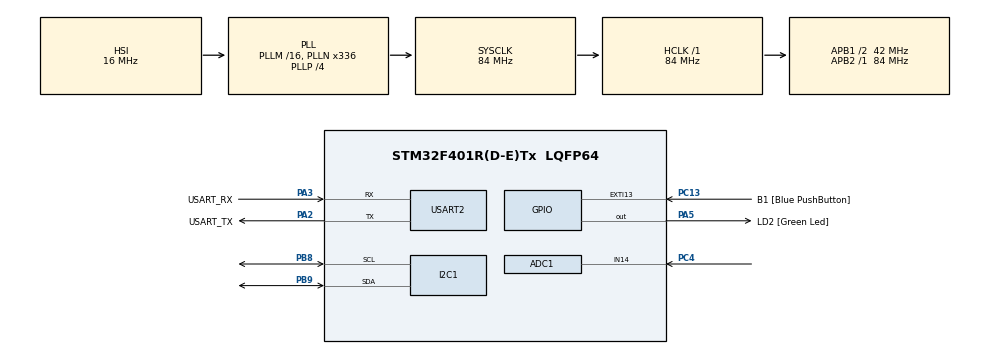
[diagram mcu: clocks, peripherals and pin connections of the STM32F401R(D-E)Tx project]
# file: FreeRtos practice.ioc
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ADC1.Channel-0\#ChannelRegularConversion=ADC_CHANNEL_14
ADC1.ContinuousConvMode=ENABLE
ADC1.NbrOfConversionFlag=1
ADC1.Rank-0\#ChannelRegularConversion=1
ADC1.SamplingTime-0\#ChannelRegularConversion=ADC_SAMPLETIME_3CYCLES
ADC1.master=1
FREERTOS.Queues01=myQueue01,16,uint16_t,0,Dynamic,NULL,NULL
FREERTOS.Tasks01=defaultTask,0,128,StartDefaultTask,Default,NULL,Dynamic,NULL,NULL;myTask02,-3,128,StartTask02,Default,NULL,Dynamic,NULL,NULL;myTask03,-3,128,StartTask03,Default,NULL,Dynamic,NULL,NULL
FREERTOS.configUSE_NEWLIB_REENTRANT=1
FREERTOS.configUSE_TIMERS=0
Mcu.Family=STM32F4
Mcu.Name=STM32F401R(D-E)Tx
Mcu.Package=LQFP64
NVIC.PriorityGroup=NVIC_PRIORITYGROUP_4
NVIC.TIM1_TRG_COM_TIM11_IRQn=true\:15\:0\:false\:false\:true\:false\:false\:true\:true
NVIC.TimeBase=TIM1_TRG_COM_TIM11_IRQn
NVIC.TimeBaseIP=TIM11
PA13.GPIO_Label=TMS
PA13.Mode=Serial_Wire
PA13.Signal=SYS_JTMS-SWDIO
PA14.GPIO_Label=TCK
PA14.Mode=Serial_Wire
PA14.Signal=SYS_JTCK-SWCLK
PA2.GPIO_Label=USART_TX
PA2.GPIO_Mode=GPIO_MODE_AF_PP
PA2.GPIO_PuPd=GPIO_NOPULL
PA2.GPIO_Speed=GPIO_SPEED_FREQ_LOW
PA2.Mode=Asynchronous
PA2.Signal=USART2_TX
PA3.GPIO_Label=USART_RX
PA3.GPIO_Mode=GPIO_MODE_AF_PP
PA3.GPIO_PuPd=GPIO_NOPULL
PA3.GPIO_Speed=GPIO_SPEED_FREQ_LOW
PA3.Mode=Asynchronous
PA3.Signal=USART2_RX
PA5.GPIO_Label=LD2 [Green Led]
PA5.GPIO_Mode=GPIO_MODE_OUTPUT_PP
PA5.GPIO_PuPd=GPIO_NOPULL
PA5.GPIO_Speed=GPIO_SPEED_FREQ_LOW
PA5.Signal=GPIO_Output
PB3.GPIO_Label=SWO
PB3.Signal=SYS_JTDO-SWO
PB8.Mode=I2C
PB8.Signal=I2C1_SCL
PB9.Mode=I2C
PB9.Signal=I2C1_SDA
PC13-ANTI_TAMP.GPIO_Label=B1 [Blue PushButton]
PC13-ANTI_TAMP.GPIO_ModeDefaultEXTI=GPIO_MODE_IT_FALLING
PC13-ANTI_TAMP.GPIO_PuPd=GPIO_NOPULL
PC13-ANTI_TAMP.Signal=GPXTI13
PC14-OSC32_IN.Mode=LSE-External-Oscillator
PC14-OSC32_IN.Signal=RCC_OSC32_IN
PC15-OSC32_OUT.Mode=LSE-External-Oscillator
PC15-OSC32_OUT.Signal=RCC_OSC32_OUT
PC4.Signal=ADCx_IN14
PH0\ -\ OSC_IN.Mode=HSE-External-Clock-Source
PH0\ -\ OSC_IN.Signal=RCC_OSC_IN
PH1\ -\ OSC_OUT.Mode=HSE-External-Clock-Source
PH1\ -\ OSC_OUT.Signal=RCC_OSC_OUT
ProjectManager.HeapSize=0x200
ProjectManager.StackSize=0x400
ProjectManager.TargetToolchain=STM32CubeIDE
RCC.48MHZClocksFreq_Value=48000000
RCC.AHBFreq_Value=84000000
RCC.APB1CLKDivider=RCC_HCLK_DIV2
RCC.APB1Freq_Value=42000000
RCC.APB1TimFreq_Value=84000000
RCC.APB2Freq_Value=84000000
RCC.APB2TimFreq_Value=84000000
RCC.CortexFreq_Value=84000000
RCC.HCLKFreq_Value=84000000
RCC.HSE_VALUE=8000000
RCC.HSI_VALUE=16000000
RCC.PLLN=336
RCC.PLLP=RCC_PLLP_DIV4
RCC.PLLQ=7
RCC.SYSCLKFreq_VALUE=84000000
RCC.SYSCLKSource=RCC_SYSCLKSOURCE_PLLCLK
RCC.VCOOutputFreq_Value=336000000
SH.ADCx_IN14.0=ADC1_IN14,IN14
USART2.VirtualMode=VM_ASYNC
VP_FREERTOS_VS_CMSIS_V1.Mode=CMSIS_V1
VP_SYS_VS_tim11.Mode=TIM11
board=NUCLEO-F401RE

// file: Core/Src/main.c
/* USER CODE BEGIN Header */
/**
 ******************************************************************************
 * @file           : main.c
 * @brief          : Main program body
 ******************************************************************************
 * @attention
 *
 * Copyright (c) 2023 STMicroelectronics.
 * All rights reserved.
 *
 * This software is licensed under terms that can be found in the LICENSE file
 * in the root directory of this software component.
 * If no LICENSE file comes with this software, it is provided AS-IS.
 *
 ******************************************************************************
 */
/* USER CODE END Header */
#include "main.h"
#include "cmsis_os.h"

/* USER CODE BEGIN Includes */
#include "BML_DEF.h"
#include "uart.h"
#include "st7783.h"
/* USER CODE END Includes */

ADC_HandleTypeDef hadc1;

I2C_HandleTypeDef hi2c1;

UART_HandleTypeDef huart2;

osThreadId defaultTaskHandle;
osThreadId myTask02Handle;
osThreadId myTask03Handle;
osMessageQId myQueue01Handle;
/* USER CODE BEGIN PV */

int8_t menu_select_flag = -1;

/* USER CODE END PV */

void SystemClock_Config(void);
static void MX_GPIO_Init(void);
static void MX_USART2_UART_Init(void);
static void MX_ADC1_Init(void);
static void MX_I2C1_Init(void);
void StartDefaultTask(void const *argument);
void StartTask02(void const *argument);
void StartTask03(void const *argument);

int main(void) {

	/* MCU Configuration--------------------------------------------------------*/

	/* Reset of all peripherals, Initializes the Flash interface and the Systick. */
	HAL_Init();

	/* Configure the system clock */
	SystemClock_Config();

	/* Initialize all configured peripherals */
	MX_GPIO_Init();
	MX_USART2_UART_Init();
	MX_ADC1_Init();
	MX_I2C1_Init();
	/* USER CODE BEGIN 2 */
	USART_INIT(USART6, PORTA, PORTA, 11, 12, 115200);
	print("Working\r\n");
	USART_WRITE(USART6, "WORKING USART 6\r\n", 18, 100);
	LCD_Begin();
	LCD_FillScreen(BLACK);
	LCD_Printf("Working");

	gpio_config(PORTC, 9, INPUT_MODE, LOW_SPEED, EN_PU, PHPL);
	gpio_IT_config(PORTC, 9, FALLING_EDGE);
	gpio_IT_EN(9, EXTI9_5_IRQn);

	/* USER CODE END 2 */

	/* Create the queue(s) */
	/* definition and creation of myQueue01 */
	osMessageQDef(myQueue01, 16, uint16_t);
	myQueue01Handle = osMessageCreate(osMessageQ(myQueue01), NULL);

	/* Create the thread(s) */
	/* definition and creation of defaultTask */
	osThreadDef(defaultTask, StartDefaultTask, osPriorityNormal, 0, 128);
	defaultTaskHandle = osThreadCreate(osThread(defaultTask), NULL);

	/* definition and creation of myTask02 */
	osThreadDef(myTask02, StartTask02, osPriorityNormal, 0, 128);
	myTask02Handle = osThreadCreate(osThread(myTask02), NULL);

	/* definition and creation of myTask03 */
	osThreadDef(myTask03, StartTask03, osPriorityNormal, 0, 256);
	myTask03Handle = osThreadCreate(osThread(myTask03), NULL);

	/* Start scheduler */
	osKernelStart();

	/* We should never get here as control is now taken by the scheduler */
	/* Infinite loop */
	while (1) {

	}
}

void SystemClock_Config(void) {
	RCC_OscInitTypeDef RCC_OscInitStruct = { 0 };
	RCC_ClkInitTypeDef RCC_ClkInitStruct = { 0 };

	/** Configure the main internal regulator output voltage
	 */
	__HAL_RCC_PWR_CLK_ENABLE();
	__HAL_PWR_VOLTAGESCALING_CONFIG(PWR_REGULATOR_VOLTAGE_SCALE2);

	/** Initializes the RCC Oscillators according to the specified parameters
	 * in the RCC_OscInitTypeDef structure.
	 */
	RCC_OscInitStruct.OscillatorType = RCC_OSCILLATORTYPE_HSI;
	RCC_OscInitStruct.HSIState = RCC_HSI_ON;
	RCC_OscInitStruct.HSICalibrationValue = RCC_HSICALIBRATION_DEFAULT;
	RCC_OscInitStruct.PLL.PLLState = RCC_PLL_ON;
	RCC_OscInitStruct.PLL.PLLSource = RCC_PLLSOURCE_HSI;
	RCC_OscInitStruct.PLL.PLLM = 16;
	RCC_OscInitStruct.PLL.PLLN = 336;
	RCC_OscInitStruct.PLL.PLLP = RCC_PLLP_DIV4;
	RCC_OscInitStruct.PLL.PLLQ = 7;
	if (HAL_RCC_OscConfig(&RCC_OscInitStruct) != HAL_OK) {
		Error_Handler();
	}

	/** Initializes the CPU, AHB and APB buses clocks
	 */
	RCC_ClkInitStruct.ClockType = RCC_CLOCKTYPE_HCLK | RCC_CLOCKTYPE_SYSCLK
			| RCC_CLOCKTYPE_PCLK1 | RCC_CLOCKTYPE_PCLK2;
	RCC_ClkInitStruct.SYSCLKSource = RCC_SYSCLKSOURCE_PLLCLK;
	RCC_ClkInitStruct.AHBCLKDivider = RCC_SYSCLK_DIV1;
	RCC_ClkInitStruct.APB1CLKDivider = RCC_HCLK_DIV2;
	RCC_ClkInitStruct.APB2CLKDivider = RCC_HCLK_DIV1;

	if (HAL_RCC_ClockConfig(&RCC_ClkInitStruct, FLASH_LATENCY_2) != HAL_OK) {
		Error_Handler();
	}
}

static void MX_ADC1_Init(void) {

	ADC_ChannelConfTypeDef sConfig = { 0 };

	/** Configure the global features of the ADC (Clock, Resolution, Data Alignment and number of conversion)
	 */
	hadc1.Instance = ADC1;
	hadc1.Init.ClockPrescaler = ADC_CLOCK_SYNC_PCLK_DIV4;
	hadc1.Init.Resolution = ADC_RESOLUTION_12B;
	hadc1.Init.ScanConvMode = DISABLE;
	hadc1.Init.ContinuousConvMode = ENABLE;
	hadc1.Init.DiscontinuousConvMode = DISABLE;
	hadc1.Init.ExternalTrigConvEdge = ADC_EXTERNALTRIGCONVEDGE_NONE;
	hadc1.Init.ExternalTrigConv = ADC_SOFTWARE_START;
	hadc1.Init.DataAlign = ADC_DATAALIGN_RIGHT;
	hadc1.Init.NbrOfConversion = 1;
	hadc1.Init.DMAContinuousRequests = DISABLE;
	hadc1.Init.EOCSelection = ADC_EOC_SINGLE_CONV;
	if (HAL_ADC_Init(&hadc1) != HAL_OK) {
		Error_Handler();
	}

	/** Configure for the selected ADC regular channel its corresponding rank in the sequencer and its sample time.
	 */
	sConfig.Channel = ADC_CHANNEL_14;
	sConfig.Rank = 1;
	sConfig.SamplingTime = ADC_SAMPLETIME_3CYCLES;
	if (HAL_ADC_ConfigChannel(&hadc1, &sConfig) != HAL_OK) {
		Error_Handler();
	}

}

static void MX_I2C1_Init(void) {

	hi2c1.Instance = I2C1;
	hi2c1.Init.ClockSpeed = 100000;
	hi2c1.Init.DutyCycle = I2C_DUTYCYCLE_2;
	hi2c1.Init.OwnAddress1 = 0;
	hi2c1.Init.AddressingMode = I2C_ADDRESSINGMODE_7BIT;
	hi2c1.Init.DualAddressMode = I2C_DUALADDRESS_DISABLE;
	hi2c1.Init.OwnAddress2 = 0;
	hi2c1.Init.GeneralCallMode = I2C_GENERALCALL_DISABLE;
	hi2c1.Init.NoStretchMode = I2C_NOSTRETCH_DISABLE;
	if (HAL_I2C_Init(&hi2c1) != HAL_OK) {
		Error_Handler();
	}

}

static void MX_USART2_UART_Init(void) {

	huart2.Instance = USART2;
	huart2.Init.BaudRate = 115200;
	huart2.Init.WordLength = UART_WORDLENGTH_8B;
	huart2.Init.StopBits = UART_STOPBITS_1;
	huart2.Init.Parity = UART_PARITY_NONE;
	huart2.Init.Mode = UART_MODE_TX_RX;
	huart2.Init.HwFlowCtl = UART_HWCONTROL_NONE;
	huart2.Init.OverSampling = UART_OVERSAMPLING_16;
	if (HAL_UART_Init(&huart2) != HAL_OK) {
		Error_Handler();
	}

}

static void MX_GPIO_Init(void) {
	GPIO_InitTypeDef GPIO_InitStruct = { 0 };

	/* GPIO Ports Clock Enable */
	__HAL_RCC_GPIOC_CLK_ENABLE();
	__HAL_RCC_GPIOH_CLK_ENABLE();
	__HAL_RCC_GPIOA_CLK_ENABLE();
	__HAL_RCC_GPIOB_CLK_ENABLE();

	/*Configure GPIO pin Output Level */
	HAL_GPIO_WritePin(LD2_GPIO_Port, LD2_Pin, GPIO_PIN_RESET);

	/*Configure GPIO pin : B1_Pin */
	GPIO_InitStruct.Pin = B1_Pin;
	GPIO_InitStruct.Mode = GPIO_MODE_IT_FALLING;
	GPIO_InitStruct.Pull = GPIO_NOPULL;
	HAL_GPIO_Init(B1_GPIO_Port, &GPIO_InitStruct);

	/*Configure GPIO pin : LD2_Pin */
	GPIO_InitStruct.Pin = LD2_Pin;
	GPIO_InitStruct.Mode = GPIO_MODE_OUTPUT_PP;
	GPIO_InitStruct.Pull = GPIO_NOPULL;
	GPIO_InitStruct.Speed = GPIO_SPEED_FREQ_LOW;
	HAL_GPIO_Init(LD2_GPIO_Port, &GPIO_InitStruct);

}

/* USER CODE BEGIN 4 */

void EXTI9_5_IRQHandler() {
	if (gpio_IT_CHK(9)) {
		for (int i = 2000000; i > 0; i--)
			;
		menu_select_flag = (menu_select_flag + 1) % 3;

		print("interrupt: %d\r\n", menu_select_flag);
		gpio_IT_CLR(9);
	}
}

/* USER CODE END 4 */

void StartDefaultTask(void const *argument) {
	/* USER CODE BEGIN 5 */
	/* Infinite loop */
	for (;;) {

		if (menu_select_flag == 0) {
			vTaskSuspend(myTask03Handle);
			vTaskResume(myTask02Handle);
		} else if (menu_select_flag == 1) {
			vTaskSuspend(myTask02Handle);
			vTaskResume(myTask03Handle);
		} else if (menu_select_flag == 2) {
			vTaskResume(myTask02Handle);
			vTaskResume(myTask03Handle);
		}
		osDelay(10);
	}
	/* USER CODE END 5 */
}

void StartTask02(void const *argument) {
	/* USER CODE BEGIN StartTask02 */
	uint32_t PreviousWakeTime = osKernelSysTick();
	/* Infinite loop */
	for (;;) {

		print("This is Task 2\r\n");
//		if(osDelayUntil(PreviousWakeTime, 5000) == osOK){
//			print("osDelayUnit happended\r\n");
//			PreviousWakeTime = osKernelSysTick();
//		}
//		vTaskGetRunTimeStats(pcWriteBuffer)
		osDelay(1000);

	}
	/* USER CODE END StartTask02 */
}

void StartTask03(void const *argument) {
	/* USER CODE BEGIN StartTask03 */
	int i = 0;
	LCD_SetCursor(50, 70);
	LCD_SetTextSize(2);
	/* Infinite loop */
	for (;;) {
//		LCD_SetCursor(20, 20);
//		LCD_Printf("Counter: %d", i++);

		print("This is Task 3\r\n");
		osDelay(256);
	}
	/* USER CODE END StartTask03 */
}

void HAL_TIM_PeriodElapsedCallback(TIM_HandleTypeDef *htim) {
	if (htim->Instance == TIM11) {
		HAL_IncTick();
	}
}

void Error_Handler(void) {
	__disable_irq();
	while (1) {
	}
}
